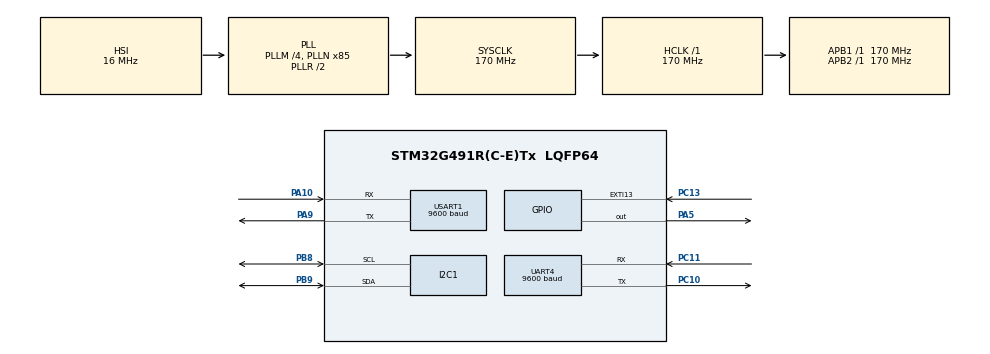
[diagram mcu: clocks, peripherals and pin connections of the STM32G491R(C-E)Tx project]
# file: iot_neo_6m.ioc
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I2C1.Timing=0x40B285C2
Mcu.Family=STM32G4
Mcu.Name=STM32G491R(C-E)Tx
Mcu.Package=LQFP64
NUCLEO-G491RE.BUTTON=1
NUCLEO-G491RE.LD2=true
NUCLEO-G491RE.VCP=true
NVIC.EXTI15_10_IRQn=true\:0\:0\:false\:false\:true\:true\:true\:true
NVIC.PriorityGroup=NVIC_PRIORITYGROUP_4
NVIC.USART1_IRQn=true\:0\:0\:false\:false\:true\:true\:true\:true
PA10.Mode=Asynchronous
PA10.Signal=USART1_RX
PA13.GPIO_Label=T_SWDIO
PA13.Signal=SYS_JTMS-SWDIO
PA14.GPIO_Label=T_SWCLK
PA14.Signal=SYS_JTCK-SWCLK
PA2.Signal=LPUART1_TX
PA3.Signal=LPUART1_RX
PA5.Signal=GPIO_Output
PA9.Mode=Asynchronous
PA9.Signal=USART1_TX
PB3.GPIO_Label=T_SWO
PB3.Signal=SYS_JTDO-SWO
PB8-BOOT0.Mode=I2C
PB8-BOOT0.Signal=I2C1_SCL
PB9.Mode=I2C
PB9.Signal=I2C1_SDA
PC10.Mode=Asynchronous
PC10.Signal=UART4_TX
PC11.Mode=Asynchronous
PC11.Signal=UART4_RX
PC13.Signal=GPXTI13
PC14-OSC32_IN.GPIO_Label=RCC_OSC32_IN
PC14-OSC32_IN.Signal=RCC_OSC32_IN
PC15-OSC32_OUT.GPIO_Label=RCC_OSC32_OUT
PC15-OSC32_OUT.Signal=RCC_OSC32_OUT
PF0-OSC_IN.GPIO_Label=RCC_OSC_IN
PF0-OSC_IN.Signal=RCC_OSC_IN
PF1-OSC_OUT.GPIO_Label=RCC_OSC_OUT
PF1-OSC_OUT.Signal=RCC_OSC_OUT
ProjectManager.HeapSize=0x200
ProjectManager.StackSize=0x400
ProjectManager.TargetToolchain=STM32CubeIDE
RCC.ADC12Freq_Value=170000000
RCC.ADC345Freq_Value=170000000
RCC.AHBFreq_Value=170000000
RCC.APB1Freq_Value=170000000
RCC.APB1TimFreq_Value=170000000
RCC.APB2Freq_Value=170000000
RCC.APB2TimFreq_Value=170000000
RCC.CortexFreq_Value=170000000
RCC.EXTERNAL_CLOCK_VALUE=12288000
RCC.HCLKFreq_Value=170000000
RCC.HSE_VALUE=24000000
RCC.HSI48_VALUE=48000000
RCC.HSI_VALUE=16000000
RCC.LSE_VALUE=32768
RCC.PLLM=RCC_PLLM_DIV4
RCC.PLLN=85
RCC.RTCClockSelection=RCC_RTCCLKSOURCE_LSE
RCC.SYSCLKFreq_VALUE=170000000
RCC.SYSCLKSource=RCC_SYSCLKSOURCE_PLLCLK
RCC.USBFreq_Value=48000000
RCC.VCOOutputFreq_Value=340000000
UART4.BaudRate=9600
USART1.BaudRate=9600
USART1.VirtualMode-Asynchronous=VM_ASYNC
VP_NUCLEO-G491RE_VS_BSP_COMMON.Mode=COMMON
VP_SYS_VS_DBSignals.Mode=DisableDeadBatterySignals
board=NUCLEO-G491RE

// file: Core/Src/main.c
/* USER CODE BEGIN Header */
/**
  ******************************************************************************
  * @file           : main.c
  * @brief          : Real-time Vehicle Telemetry & Mapping Tracking System
  * @hardware       : STM32G491RE, SIM900A (UART1), NEO-6M (UART4), OLED (I2C1)
  * @platform       : Ubidots STEM Integration
  ******************************************************************************
  */
/* USER CODE END Header */
#include "main.h"
#include <string.h>
#include <stdlib.h>
#include <stdio.h>

#define RX_BUF_SIZE 512
#define SSD1306_I2C_ADDR 0x78

I2C_HandleTypeDef hi2c1;
UART_HandleTypeDef huart1;
UART_HandleTypeDef huart4;

volatile char sim_rx_buffer[RX_BUF_SIZE];
volatile uint16_t sim_rx_index = 0;
uint8_t sim_rx_byte;

/* 5x7 Font Matrix for OLED Display */
const uint8_t Font5x7[][5] = {
    {0x00, 0x00, 0x00, 0x00, 0x00}, {0x00, 0x00, 0x5F, 0x00, 0x00}, {0x00, 0x07, 0x00, 0x07, 0x00}, {0x14, 0x7F, 0x14, 0x7F, 0x14},
    {0x24, 0x2A, 0x7F, 0x2A, 0x12}, {0x23, 0x13, 0x08, 0x64, 0x62}, {0x36, 0x49, 0x55, 0x22, 0x50}, {0x00, 0x05, 0x03, 0x00, 0x00},
    {0x00, 0x1C, 0x22, 0x41, 0x00}, {0x00, 0x41, 0x22, 0x1C, 0x00}, {0x14, 0x08, 0x3E, 0x08, 0x14}, {0x08, 0x08, 0x3E, 0x08, 0x08},
    {0x00, 0x50, 0x30, 0x00, 0x00}, {0x08, 0x08, 0x08, 0x08, 0x08}, {0x00, 0x60, 0x60, 0x00, 0x00}, {0x20, 0x10, 0x08, 0x04, 0x02},
    {0x3E, 0x51, 0x49, 0x45, 0x3E}, {0x00, 0x42, 0x7F, 0x40, 0x00}, {0x42, 0x61, 0x51, 0x49, 0x46}, {0x21, 0x41, 0x45, 0x4B, 0x31},
    {0x18, 0x14, 0x12, 0x7F, 0x10}, {0x27, 0x45, 0x45, 0x45, 0x39}, {0x3C, 0x4A, 0x49, 0x49, 0x30}, {0x01, 0x71, 0x09, 0x05, 0x03},
    {0x36, 0x49, 0x49, 0x49, 0x36}, {0x06, 0x49, 0x49, 0x29, 0x1E}, {0x00, 0x36, 0x36, 0x00, 0x00}, {0x00, 0x56, 0x36, 0x00, 0x00},
    {0x08, 0x14, 0x22, 0x41, 0x00}, {0x24, 0x24, 0x24, 0x24, 0x24}, {0x00, 0x41, 0x22, 0x14, 0x08}, {0x02, 0x01, 0x51, 0x09, 0x06},
    {0x32, 0x49, 0x79, 0x41, 0x3E}, {0x7C, 0x12, 0x11, 0x12, 0x7C}, {0x7F, 0x49, 0x49, 0x49, 0x36}, {0x3E, 0x41, 0x41, 0x41, 0x22},
    {0x7F, 0x41, 0x41, 0x22, 0x1C}, {0x7F, 0x49, 0x49, 0x49, 0x41}, {0x7F, 0x09, 0x09, 0x09, 0x01}, {0x3E, 0x41, 0x49, 0x49, 0x7A},
    {0x7F, 0x08, 0x08, 0x08, 0x7F}, {0x00, 0x41, 0x7F, 0x41, 0x00}, {0x20, 0x40, 0x41, 0x3F, 0x01}, {0x7F, 0x08, 0x14, 0x22, 0x41},
    {0x7F, 0x40, 0x40, 0x40, 0x40}, {0x7F, 0x02, 0x0C, 0x02, 0x7F}, {0x7F, 0x04, 0x08, 0x10, 0x7F}, {0x3E, 0x41, 0x41, 0x41, 0x3E},
    {0x7F, 0x09, 0x09, 0x09, 0x06}, {0x3E, 0x41, 0x51, 0x21, 0x5E}, {0x7F, 0x09, 0x19, 0x29, 0x46}, {0x46, 0x49, 0x49, 0x49, 0x31},
    {0x01, 0x01, 0x7F, 0x01, 0x01}, {0x3F, 0x40, 0x40, 0x40, 0x3F}, {0x1F, 0x20, 0x40, 0x20, 0x1F}, {0x3F, 0x40, 0x38, 0x40, 0x3F},
    {0x63, 0x14, 0x08, 0x14, 0x63}, {0x07, 0x08, 0x70, 0x08, 0x07}, {0x61, 0x51, 0x49, 0x45, 0x43}
};

void SystemClock_Config(void);
static void MX_GPIO_Init(void);
static void MX_I2C1_Init(void);
static void MX_USART1_UART_Init(void);
static void MX_UART4_Init(void);

void OLED_WriteCmd(uint8_t cmd);
void OLED_Init(void);
void OLED_Clear(void);
void OLED_PrintString(const char* str, uint8_t page, uint8_t col);

void LED_Pulse(uint8_t count, uint32_t delay_ms);
void Flush_SIM_Buffer(void);
uint8_t send_sim_cmd(char *cmd, char *expected_response, uint32_t timeout);
uint8_t Ensure_Network(void);
uint8_t send_http_post(char *url, char *body);
void fetch_sim_time(char *date_out, char *time_out);
uint8_t fetch_gps_decimal(double *lat_out, double *lon_out);
double convert_nmea_to_decimal(const char* nmea_str, char direction);

/* USER CODE BEGIN 0 */

/* ================= LED SIGNALS ================= */
void LED_Pulse(uint8_t count, uint32_t delay_ms) {
    for (int i = 0; i < count; i++) {
        HAL_GPIO_WritePin(GPIOA, GPIO_PIN_5, GPIO_PIN_SET);
        HAL_Delay(delay_ms);
        HAL_GPIO_WritePin(GPIOA, GPIO_PIN_5, GPIO_PIN_RESET);
        if (i < count - 1) HAL_Delay(delay_ms);
    }
}

/* ================= OLED CORE DRIVERS ================= */
void OLED_WriteCmd(uint8_t cmd) {
    HAL_I2C_Mem_Write(&hi2c1, SSD1306_I2C_ADDR, 0x00, 1, &cmd, 1, 20);
}

void OLED_Init(void) {
    HAL_Delay(100);
    OLED_WriteCmd(0xAE); OLED_WriteCmd(0x20); OLED_WriteCmd(0x10);
    OLED_WriteCmd(0xB0); OLED_WriteCmd(0x00); OLED_WriteCmd(0x10);
    OLED_WriteCmd(0xC8); OLED_WriteCmd(0xA1); OLED_WriteCmd(0x8D);
    OLED_WriteCmd(0x14); OLED_WriteCmd(0xAF);
    HAL_Delay(100);
    OLED_Clear();
}

void OLED_Clear(void) {
    uint8_t blank_buffer[128] = {0};
    for (uint8_t i = 0; i < 8; i++) {
        OLED_WriteCmd(0xB0 + i);
        OLED_WriteCmd(0x00);
        OLED_WriteCmd(0x10);
        HAL_I2C_Mem_Write(&hi2c1, SSD1306_I2C_ADDR, 0x40, 1, blank_buffer, 128, 50);
    }
}

void OLED_PrintString(const char* str, uint8_t page, uint8_t col) {
    while (*str) {
        char c = *str++;
        if (c < 32 || c > 90) {
            if (c >= 'a' && c <= 'z') c -= 32; else c = ' ';
        }
        uint8_t font_idx = c - 32;
        OLED_WriteCmd(0xB0 + page);
        OLED_WriteCmd(col & 0x0F);
        OLED_WriteCmd(0x10 | ((col >> 4) & 0x0F));
        HAL_I2C_Mem_Write(&hi2c1, SSD1306_I2C_ADDR, 0x40, 1, (uint8_t*)Font5x7[font_idx], 5, 20);
        col += 6;
        if (col > 122) break;
    }
}

/* ================= CONVERT RAW NMEA TO MAP DEGREES ================= */
double convert_nmea_to_decimal(const char* nmea_str, char direction) {
    if (strlen(nmea_str) == 0) return 0.0;
    double raw_val = atof(nmea_str);
    int degrees = (int)(raw_val / 100);
    double minutes = raw_val - (degrees * 100);
    double decimal_val = degrees + (minutes / 60.0);

    if (direction == 'S' || direction == 'W') {
        decimal_val = -decimal_val;
    }
    return decimal_val;
}

/* ================= MODEM COMMS & FAULT WATCHDOG ================= */
void Flush_SIM_Buffer(void) {
    __disable_irq();
    memset((void*)sim_rx_buffer, 0, RX_BUF_SIZE);
    sim_rx_index = 0;
    __enable_irq();
}

uint8_t send_sim_cmd(char *cmd, char *expected_response, uint32_t timeout) {
    Flush_SIM_Buffer();

    // Check and resolve hardware Overrun Errors before transmitting
    __HAL_UART_CLEAR_FLAG(&huart1, UART_CLEAR_OREF);
    __HAL_UART_FLUSH_DRREGISTER(&huart1);

    HAL_UART_Transmit(&huart1, (uint8_t*)cmd, strlen(cmd), 1000);
    uint32_t start_tick = HAL_GetTick();

    while ((HAL_GetTick() - start_tick) < timeout) {
        if (strstr((const char*)sim_rx_buffer, expected_response) != NULL) {
            HAL_Delay(100); // Allow hardware trailing lines to write out safely
            return 1;
        }

        // Auto-recover USART interrupt structure if broken by noise line spikes
        if (__HAL_UART_GET_FLAG(&huart1, UART_FLAG_ORE)) {
            __HAL_UART_CLEAR_FLAG(&huart1, UART_CLEAR_OREF);
            HAL_UART_Receive_IT(&huart1, &sim_rx_byte, 1);
        }

        if (strstr((const char*)sim_rx_buffer, "ERROR") != NULL && strstr(cmd, "HTTPACTION") == NULL) {
            return 0;
        }
    }
    return 0;
}

uint8_t Ensure_Network(void) {
    if (!send_sim_cmd("AT+SAPBR=2,1\r\n", "+SAPBR: 1,1", 2000)) {
        OLED_PrintString("NET DROP ALERT! ", 7, 0);
        send_sim_cmd("AT+SAPBR=0,1\r\n", "OK", 2000);
        send_sim_cmd("AT+CGATT=1\r\n", "OK", 4000);

        if(send_sim_cmd("AT+SAPBR=1,1\r\n", "OK", 5000)) {
            OLED_PrintString("NET RECONNECTED!", 7, 0);
            return 1;
        } else {
            OLED_PrintString("NET LINK FATAL  ", 7, 0);
            return 0;
        }
    }
    return 1;
}

/* ================= GPS TELEMETRY FETCHING ================= */
uint8_t fetch_gps_decimal(double *lat_out, double *lon_out) {
    char rx_buf[128] = {0};
    uint16_t rx_idx = 0;
    uint8_t rx_byte;
    uint32_t start_tick = HAL_GetTick();

    __HAL_UART_CLEAR_FLAG(&huart4, UART_CLEAR_OREF);
    __HAL_UART_FLUSH_DRREGISTER(&huart4);

    OLED_PrintString("POLLING GPS FIX ", 0, 0);

    while ((HAL_GetTick() - start_tick) < 1500) {
        if (HAL_UART_Receive(&huart4, &rx_byte, 1, 5) == HAL_OK) {
            if (rx_idx < 127) {
                rx_buf[rx_idx++] = rx_byte;
                rx_buf[rx_idx] = '\0';
            }

            if (rx_byte == '\n') {
                char *gga = strstr(rx_buf, "$GPGGA,");
                if (gga != NULL) {
                    char *time_end = strchr(gga + 7, ',');
                    if (time_end) {
                        char *lat_start = time_end + 1;
                        char *lat_end = strchr(lat_start, ',');

                        if (lat_end && (lat_end - lat_start > 1)) {
                            char *ns_start = lat_end + 1;
                            char *ns_end = strchr(ns_start, ',');
                            char *lon_start = ns_end + 1;
                            char *lon_end = strchr(lon_start, ',');

                            if (lon_end && (lon_end - lon_start > 1)) {
                                char *ew_start = lon_end + 1;

                                char temp_lat[15] = {0};
                                char temp_lon[15] = {0};
                                strncpy(temp_lat, lat_start, lat_end - lat_start);
                                strncpy(temp_lon, lon_start, lon_end - lon_start);

                                *lat_out = convert_nmea_to_decimal(temp_lat, ns_start[0]);
                                *lon_out = convert_nmea_to_decimal(temp_lon, ew_start[0]);

                                OLED_PrintString("SATELLITE SYNCED", 0, 0);
                                return 1; // Valid coordinates achieved
                            }
                        }
                    }
                }
                rx_idx = 0;
                rx_buf[0] = '\0';
            }
        }
    }
    OLED_PrintString("SEARCHING SKY... ", 0, 0);
    return 0; // Fix not acquired yet
}

void fetch_sim_time(char *date_out, char *time_out) {
    if (send_sim_cmd("AT+CCLK?\r\n", "OK", 2000)) {
        char *p = strstr((const char*)sim_rx_buffer, "+CCLK: \"");
        if (p != NULL) {
            p += 8;
            if(strlen(p) >= 17) {
                sprintf(date_out, "%c%c-%c%c-20%c%c", p[6], p[7], p[3], p[4], p[0], p[1]);
                sprintf(time_out, "%c%c:%c%c:%c%c", p[9], p[10], p[12], p[13], p[15], p[16]);
                return;
            }
        }
    }
    strcpy(date_out, "00-00-2026");
    strcpy(time_out, "00:00:00");
}

/* ================= UBIDOTS TELEMETRY UPLOAD ================= */
uint8_t send_http_post(char *url, char *body) {
    char cmd[350];
    OLED_PrintString("STREAMING DATA..", 0, 0);

    send_sim_cmd("AT+HTTPTERM\r\n", "OK", 1000);
    HAL_Delay(100);

    if (!send_sim_cmd("AT+HTTPINIT\r\n", "OK", 2000)) {
        OLED_PrintString("STACK RST FAIL  ", 7, 0);
        return 0;
    }

    send_sim_cmd("AT+HTTPPARA=\"CID\",1\r\n", "OK", 1000);

    sprintf(cmd, "AT+HTTPPARA=\"URL\",\"%s\"\r\n", url);
    if (!send_sim_cmd(cmd, "OK", 2000)) {
        OLED_PrintString("URL REJECTED    ", 7, 0);
        send_sim_cmd("AT+HTTPTERM\r\n", "OK", 1000);
        return 0;
    }

    send_sim_cmd("AT+HTTPPARA=\"CONTENT\",\"application/json\"\r\n", "OK", 1000);

    sprintf(cmd, "AT+HTTPDATA=%d,8000\r\n", (int)strlen(body));
    if (send_sim_cmd(cmd, "DOWNLOAD", 3000)) {
        if (send_sim_cmd(body, "OK", 4000)) {

            OLED_PrintString("WAITING TOWER RE", 7, 0);

            if(send_sim_cmd("AT+HTTPACTION=1\r\n", "HTTPACTION:", 45000)) {
                HAL_Delay(200);

                char *ptr = strstr((const char*)sim_rx_buffer, "HTTPACTION:");
                if (ptr) {
                    char *comma = strchr(ptr, ',');
                    if (comma) {
                        comma++;
                        while (*comma == ' ') comma++;

                        char code[4] = {0};
                        strncpy(code, comma, 3);

                        if (strncmp(code, "200", 3) == 0) {
                            OLED_PrintString("STREAM OK!      ", 0, 0);
                            OLED_PrintString("HTTP CODE: 200  ", 7, 0);
                            send_sim_cmd("AT+HTTPTERM\r\n", "OK", 1000);
                            return 1;
                        } else {
                            char msg[17];
                            sprintf(msg, "HTTP FAIL: %s ", code);
                            OLED_PrintString(msg, 7, 0);
                        }
                    }
                }
            } else {
                OLED_PrintString("POST TIMEOUT!   ", 0, 0);
                OLED_PrintString("NO TOWER ACK    ", 7, 0);
            }
        }
    }

    send_sim_cmd("AT+HTTPTERM\r\n", "OK", 1000);
    return 0;
}
/* USER CODE END 0 */

int main(void)
{
  uint32_t telemetry_counter = 0;

  HAL_Init();
  SystemClock_Config();
  MX_GPIO_Init();
  MX_I2C1_Init();
  MX_USART1_UART_Init();
  MX_UART4_Init();

  OLED_Init();
  OLED_PrintString("[ SYSTEM START ]", 0, 0);
  LED_Pulse(3, 150);

  HAL_UART_Receive_IT(&huart1, &sim_rx_byte, 1);

  /* VERBOSE SYSTEM INITIALIZATION SEQUENCE ON OLED */
  int attempts = 0;
  OLED_PrintString("1. WAKING MODEM ", 2, 0);
  while (!send_sim_cmd("AT\r\n", "OK", 1000) && attempts < 10) {
      attempts++;
      HAL_Delay(100);
  }

  OLED_PrintString("2. ECHO OFF     ", 3, 0);
  send_sim_cmd("ATE0\r\n", "OK", 1000);
  send_sim_cmd("AT+CLTS=1\r\n", "OK", 1000);

  OLED_PrintString("3. CELL NETWORK ", 4, 0);
  while (!send_sim_cmd("AT+CREG?\r\n", "+CREG: 0,1", 2000) &&
         !send_sim_cmd("AT+CREG?\r\n", "+CREG: 0,5", 2000)) {
      LED_Pulse(1, 50);
      HAL_Delay(300);
  }

  OLED_PrintString("4. GPRS CONTEXT ", 5, 0);
  send_sim_cmd("AT+SAPBR=3,1,\"Contype\",\"GPRS\"\r\n", "OK", 1000);
  send_sim_cmd("AT+SAPBR=3,1,\"APN\",\"airtelgprs.com\"\r\n", "OK", 1000);

  OLED_PrintString("5. ATTACH BEARER", 6, 0);
  send_sim_cmd("AT+CGATT=1\r\n", "OK", 4000);

  if (!send_sim_cmd("AT+SAPBR=1,1\r\n", "OK", 5000)) {
      OLED_PrintString("GPRS INITIAL ERR", 7, 0);
      HAL_Delay(2000);
  } else {
      OLED_PrintString("HARDWARE READY! ", 7, 0);
      HAL_Delay(1200);
  }

  /* CORRECTED UBIDOTS ENDPOINT DEFINITION */
  char webhook_url[] = "http://industrial.api.ubidots.com/api/v1.6/devices/iot-vehicle-telemetry-bem/?token=BBUS-XZYmAoG2undEtAWIteIg7cDWYWOmcp";

  char dynamic_date[15] = "";
  char dynamic_time[15] = "";
  double current_lat = 0.0;
  double current_lon = 0.0;
  char json_payload[200];
  char screen_buf[24];

  OLED_Clear();

  while (1)
  {
      fetch_sim_time(dynamic_date, dynamic_time);
      uint8_t has_fix = fetch_gps_decimal(&current_lat, &current_lon);

      /* CONTINUOUS UI LAYOUT REFRESH */
      sprintf(screen_buf, "DATE: %s", dynamic_date);    OLED_PrintString(screen_buf, 1, 0);
      sprintf(screen_buf, "TIME: %s", dynamic_time);    OLED_PrintString(screen_buf, 2, 0);

      if (has_fix) {
          sprintf(screen_buf, "LAT: %.6f  ", current_lat); OLED_PrintString(screen_buf, 4, 0);
          sprintf(screen_buf, "LON: %.6f  ", current_lon); OLED_PrintString(screen_buf, 5, 0);
      } else {
          OLED_PrintString("LAT: WAITING FIX", 4, 0);
          OLED_PrintString("LON: WAITING FIX", 5, 0);
      }

      sprintf(screen_buf, "STREAM TX: #%-5lu", telemetry_counter);
      OLED_PrintString(screen_buf, 6, 0);

      /* REAL-TIME TELEMETRY STREAMING ACTION BLOCK (UBIDOTS GEOLOCATION FORMAT) */
      if (has_fix) {
          // Explicit nested syntax structure matching standard Ubidots tracking expectations
          snprintf(json_payload, sizeof(json_payload),
                   "{\"location\":{\"value\":1,\"context\":{\"lat\":%.6f,\"lng\":%.6f}}}",
                   current_lat, current_lon);

          Ensure_Network();

          if (send_http_post(webhook_url, json_payload)) {
              telemetry_counter++;
              HAL_GPIO_WritePin(GPIOA, GPIO_PIN_5, GPIO_PIN_SET);
              HAL_Delay(1000); // Visual signal confirming dashboard acceptance
              HAL_GPIO_WritePin(GPIOA, GPIO_PIN_5, GPIO_PIN_RESET);
          } else {
              LED_Pulse(5, 70); // Fault indicator flash patterns
          }
      }

      HAL_Delay(1000); // System cycle latency control delay
  }
  return 0;
}

/* ================= HARDWARE INTERRUPT CALLBACK RESCUE ================= */
void HAL_UART_RxCpltCallback(UART_HandleTypeDef *huart) {
    if (huart->Instance == USART1) {
        if (sim_rx_index >= RX_BUF_SIZE - 2) {
            sim_rx_index = 0;
        }
        sim_rx_buffer[sim_rx_index++] = sim_rx_byte;
        ((char*)sim_rx_buffer)[sim_rx_index] = '\0';

        HAL_UART_Receive_IT(&huart1, &sim_rx_byte, 1);
    }
}

/* ================= SYSTEM RCC SYSTEM CLOCK CONFIGURATION ================= */
void SystemClock_Config(void) {
  RCC_OscInitTypeDef RCC_OscInitStruct = {0};
  RCC_ClkInitTypeDef RCC_ClkInitStruct = {0};
  HAL_PWREx_ControlVoltageScaling(PWR_REGULATOR_VOLTAGE_SCALE1_BOOST);
  RCC_OscInitStruct.OscillatorType = RCC_OSCILLATORTYPE_HSI;
  RCC_OscInitStruct.HSIState = RCC_HSI_ON;
  RCC_OscInitStruct.HSICalibrationValue = RCC_HSICALIBRATION_DEFAULT;
  RCC_OscInitStruct.PLL.PLLState = RCC_PLL_ON;
  RCC_OscInitStruct.PLL.PLLSource = RCC_PLLSOURCE_HSI;
  RCC_OscInitStruct.PLL.PLLM = RCC_PLLM_DIV4;
  RCC_OscInitStruct.PLL.PLLN = 85;
  RCC_OscInitStruct.PLL.PLLP = RCC_PLLP_DIV2;
  RCC_OscInitStruct.PLL.PLLQ = RCC_PLLQ_DIV2;
  RCC_OscInitStruct.PLL.PLLR = RCC_PLLR_DIV2;
  HAL_RCC_OscConfig(&RCC_OscInitStruct);
  RCC_ClkInitStruct.ClockType = RCC_CLOCKTYPE_HCLK|RCC_CLOCKTYPE_SYSCLK|RCC_CLOCKTYPE_PCLK1|RCC_CLOCKTYPE_PCLK2;
  RCC_ClkInitStruct.SYSCLKSource = RCC_SYSCLKSOURCE_PLLCLK;
  RCC_ClkInitStruct.AHBCLKDivider = RCC_SYSCLK_DIV1;
  RCC_ClkInitStruct.APB1CLKDivider = RCC_HCLK_DIV1;
  RCC_ClkInitStruct.APB2CLKDivider = RCC_HCLK_DIV1;
  HAL_RCC_ClockConfig(&RCC_ClkInitStruct, FLASH_LATENCY_4);
}

static void MX_GPIO_Init(void) {
  GPIO_InitTypeDef GPIO_InitStruct = {0};
  __HAL_RCC_GPIOA_CLK_ENABLE();
  __HAL_RCC_GPIOC_CLK_ENABLE();
  HAL_GPIO_WritePin(GPIOA, GPIO_PIN_5, GPIO_PIN_RESET);
  GPIO_InitStruct.Pin = GPIO_PIN_5;
  GPIO_InitStruct.Mode = GPIO_MODE_OUTPUT_PP;
  GPIO_InitStruct.Pull = GPIO_NOPULL;
  GPIO_InitStruct.Speed = GPIO_SPEED_FREQ_LOW;
  HAL_GPIO_Init(GPIOA, &GPIO_InitStruct);
}

static void MX_I2C1_Init(void) {
  hi2c1.Instance = I2C1;
  hi2c1.Init.Timing = 0x40B285C2;
  hi2c1.Init.OwnAddress1 = 0;
  hi2c1.Init.AddressingMode = I2C_ADDRESSINGMODE_7BIT;
  hi2c1.Init.DualAddressMode = I2C_DUALADDRESS_DISABLE;
  hi2c1.Init.OwnAddress2 = 0;
  hi2c1.Init.OwnAddress2Masks = I2C_OA2_NOMASK;
  hi2c1.Init.GeneralCallMode = I2C_GENERALCALL_DISABLE;
  hi2c1.Init.NoStretchMode = I2C_NOSTRETCH_DISABLE;
  HAL_I2C_Init(&hi2c1);
  HAL_I2CEx_ConfigAnalogFilter(&hi2c1, I2C_ANALOGFILTER_ENABLE);
}

static void MX_USART1_UART_Init(void) {
  huart1.Instance = USART1;
  huart1.Init.BaudRate = 9600;
  huart1.Init.WordLength = UART_WORDLENGTH_8B;
  huart1.Init.StopBits = UART_STOPBITS_1;
  huart1.Init.Parity = UART_PARITY_NONE;
  huart1.Init.Mode = UART_MODE_TX_RX;
  huart1.Init.HwFlowCtl = UART_HWCONTROL_NONE;
  HAL_UART_Init(&huart1);
}

static void MX_UART4_Init(void) {
  huart4.Instance = UART4;
  huart4.Init.BaudRate = 9600;
  huart4.Init.WordLength = UART_WORDLENGTH_8B;
  huart4.Init.StopBits = UART_STOPBITS_1;
  huart4.Init.Parity = UART_PARITY_NONE;
  huart4.Init.Mode = UART_MODE_TX_RX;
  huart4.Init.HwFlowCtl = UART_HWCONTROL_NONE;
  HAL_UART_Init(&huart4);
}

void Error_Handler(void) { __disable_irq(); while (1) {} }
